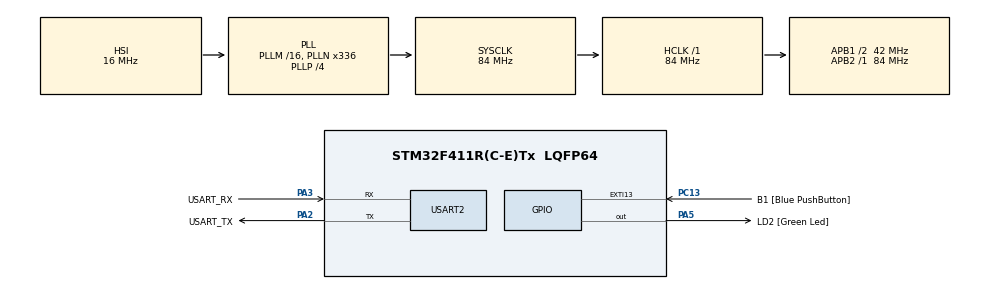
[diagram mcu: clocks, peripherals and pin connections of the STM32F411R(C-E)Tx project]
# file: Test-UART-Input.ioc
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Mcu.Family=STM32F4
Mcu.Name=STM32F411R(C-E)Tx
Mcu.Package=LQFP64
NVIC.PriorityGroup=NVIC_PRIORITYGROUP_0
PA13.GPIO_Label=TMS
PA13.Mode=Serial_Wire
PA13.Signal=SYS_JTMS-SWDIO
PA14.GPIO_Label=TCK
PA14.Mode=Serial_Wire
PA14.Signal=SYS_JTCK-SWCLK
PA2.GPIO_Label=USART_TX
PA2.Mode=Asynchronous
PA2.Signal=USART2_TX
PA3.GPIO_Label=USART_RX
PA3.Mode=Asynchronous
PA3.Signal=USART2_RX
PA5.GPIO_Label=LD2 [Green Led]
PA5.Signal=GPIO_Output
PB3.GPIO_Label=SWO
PB3.Signal=SYS_JTDO-SWO
PC13-ANTI_TAMP.GPIO_Label=B1 [Blue PushButton]
PC13-ANTI_TAMP.GPIO_ModeDefaultEXTI=GPIO_MODE_IT_FALLING
PC13-ANTI_TAMP.Signal=GPXTI13
PC14-OSC32_IN.Mode=LSE-External-Oscillator
PC14-OSC32_IN.Signal=RCC_OSC32_IN
PC15-OSC32_OUT.Mode=LSE-External-Oscillator
PC15-OSC32_OUT.Signal=RCC_OSC32_OUT
PH0\ -\ OSC_IN.Mode=HSE-External-Clock-Source
PH0\ -\ OSC_IN.Signal=RCC_OSC_IN
PH1\ -\ OSC_OUT.Mode=HSE-External-Clock-Source
PH1\ -\ OSC_OUT.Signal=RCC_OSC_OUT
ProjectManager.HeapSize=0x200
ProjectManager.StackSize=0x400
ProjectManager.TargetToolchain=STM32CubeIDE
RCC.48MHZClocksFreq_Value=84000000
RCC.AHBFreq_Value=84000000
RCC.APB1CLKDivider=RCC_HCLK_DIV2
RCC.APB1Freq_Value=42000000
RCC.APB1TimFreq_Value=84000000
RCC.APB2Freq_Value=84000000
RCC.APB2TimFreq_Value=84000000
RCC.CortexFreq_Value=84000000
RCC.FLatency-AdvancedSettings=FLASH_LATENCY_2
RCC.HCLKFreq_Value=84000000
RCC.HSE_VALUE=8000000
RCC.HSI_VALUE=16000000
RCC.PLLN=336
RCC.PLLP=RCC_PLLP_DIV4
RCC.SYSCLKFreq_VALUE=84000000
RCC.SYSCLKSource=RCC_SYSCLKSOURCE_PLLCLK
RCC.VCOOutputFreq_Value=336000000
USART2.VirtualMode=VM_ASYNC
board=NUCLEO-F411RE

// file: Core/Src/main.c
/* USER CODE BEGIN Header */
/**
  ******************************************************************************
  * @file           : main.c
  * @brief          : Main program body
  ******************************************************************************
  * @attention
  *
  * Copyright (c) 2023 STMicroelectronics.
  * All rights reserved.
  *
  * This software is licensed under terms that can be found in the LICENSE file
  * in the root directory of this software component.
  * If no LICENSE file comes with this software, it is provided AS-IS.
  *
  ******************************************************************************
  */
/* USER CODE END Header */
#include <stdio.h>
#include "main.h"

UART_HandleTypeDef huart2;

/* USER CODE BEGIN PV */
int __io_putchar(int ch)
{
	HAL_UART_Transmit(&huart2, &ch, 1, 10);
	return ch;
}

int __io_getchar(void)
{
	char ch;
	while(1)
	{
		if(HAL_UART_Receive(&huart2, &ch, 1, 10) == HAL_OK) break;
	}
	if(ch == '\b' || ch == 0x7f)
	{
		HAL_UART_Transmit(&huart2, "\b \b", 3, 10);
	}
	else if(ch == '\n')
	{
		HAL_UART_Transmit(&huart2, "\r\n", 2, 10);
	}
	else HAL_UART_Transmit(&huart2, &ch, 1, 10);
	return ch;
}

/* USER CODE END PV */

void SystemClock_Config(void);
static void MX_GPIO_Init(void);
static void MX_USART2_UART_Init(void);

int main(void)
{

  /* MCU Configuration--------------------------------------------------------*/

  /* Reset of all peripherals, Initializes the Flash interface and the Systick. */
  HAL_Init();

  /* Configure the system clock */
  SystemClock_Config();

  /* Initialize all configured peripherals */
  MX_GPIO_Init();
  MX_USART2_UART_Init();
  /* USER CODE BEGIN 2 */

  printf("Program start.....\r\n");
  setbuf(stdin, NULL);
  /* USER CODE END 2 */

  /* Infinite loop */
  while (1)
  {

    /* USER CODE BEGIN 3 */
	  int i;
	  printf("Press numeric key and [Enter]...\r\n");
	  scanf("%d", &i);
	  printf("You pressed [%d] value.\r\n", i);
  }
  /* USER CODE END 3 */
}

void SystemClock_Config(void)
{
  RCC_OscInitTypeDef RCC_OscInitStruct = {0};
  RCC_ClkInitTypeDef RCC_ClkInitStruct = {0};

  /** Configure the main internal regulator output voltage
  */
  __HAL_RCC_PWR_CLK_ENABLE();
  __HAL_PWR_VOLTAGESCALING_CONFIG(PWR_REGULATOR_VOLTAGE_SCALE1);

  /** Initializes the RCC Oscillators according to the specified parameters
  * in the RCC_OscInitTypeDef structure.
  */
  RCC_OscInitStruct.OscillatorType = RCC_OSCILLATORTYPE_HSI;
  RCC_OscInitStruct.HSIState = RCC_HSI_ON;
  RCC_OscInitStruct.HSICalibrationValue = RCC_HSICALIBRATION_DEFAULT;
  RCC_OscInitStruct.PLL.PLLState = RCC_PLL_ON;
  RCC_OscInitStruct.PLL.PLLSource = RCC_PLLSOURCE_HSI;
  RCC_OscInitStruct.PLL.PLLM = 16;
  RCC_OscInitStruct.PLL.PLLN = 336;
  RCC_OscInitStruct.PLL.PLLP = RCC_PLLP_DIV4;
  RCC_OscInitStruct.PLL.PLLQ = 4;
  if (HAL_RCC_OscConfig(&RCC_OscInitStruct) != HAL_OK)
  {
    Error_Handler();
  }

  /** Initializes the CPU, AHB and APB buses clocks
  */
  RCC_ClkInitStruct.ClockType = RCC_CLOCKTYPE_HCLK|RCC_CLOCKTYPE_SYSCLK
                              |RCC_CLOCKTYPE_PCLK1|RCC_CLOCKTYPE_PCLK2;
  RCC_ClkInitStruct.SYSCLKSource = RCC_SYSCLKSOURCE_PLLCLK;
  RCC_ClkInitStruct.AHBCLKDivider = RCC_SYSCLK_DIV1;
  RCC_ClkInitStruct.APB1CLKDivider = RCC_HCLK_DIV2;
  RCC_ClkInitStruct.APB2CLKDivider = RCC_HCLK_DIV1;

  if (HAL_RCC_ClockConfig(&RCC_ClkInitStruct, FLASH_LATENCY_2) != HAL_OK)
  {
    Error_Handler();
  }
}

static void MX_USART2_UART_Init(void)
{

  huart2.Instance = USART2;
  huart2.Init.BaudRate = 115200;
  huart2.Init.WordLength = UART_WORDLENGTH_8B;
  huart2.Init.StopBits = UART_STOPBITS_1;
  huart2.Init.Parity = UART_PARITY_NONE;
  huart2.Init.Mode = UART_MODE_TX_RX;
  huart2.Init.HwFlowCtl = UART_HWCONTROL_NONE;
  huart2.Init.OverSampling = UART_OVERSAMPLING_16;
  if (HAL_UART_Init(&huart2) != HAL_OK)
  {
    Error_Handler();
  }

}

static void MX_GPIO_Init(void)
{
  GPIO_InitTypeDef GPIO_InitStruct = {0};

  /* GPIO Ports Clock Enable */
  __HAL_RCC_GPIOC_CLK_ENABLE();
  __HAL_RCC_GPIOH_CLK_ENABLE();
  __HAL_RCC_GPIOA_CLK_ENABLE();
  __HAL_RCC_GPIOB_CLK_ENABLE();

  /*Configure GPIO pin Output Level */
  HAL_GPIO_WritePin(LD2_GPIO_Port, LD2_Pin, GPIO_PIN_RESET);

  /*Configure GPIO pin : B1_Pin */
  GPIO_InitStruct.Pin = B1_Pin;
  GPIO_InitStruct.Mode = GPIO_MODE_IT_FALLING;
  GPIO_InitStruct.Pull = GPIO_NOPULL;
  HAL_GPIO_Init(B1_GPIO_Port, &GPIO_InitStruct);

  /*Configure GPIO pin : LD2_Pin */
  GPIO_InitStruct.Pin = LD2_Pin;
  GPIO_InitStruct.Mode = GPIO_MODE_OUTPUT_PP;
  GPIO_InitStruct.Pull = GPIO_NOPULL;
  GPIO_InitStruct.Speed = GPIO_SPEED_FREQ_LOW;
  HAL_GPIO_Init(LD2_GPIO_Port, &GPIO_InitStruct);

}

void Error_Handler(void)
{
  __disable_irq();
  while (1)
  {
  }
}
